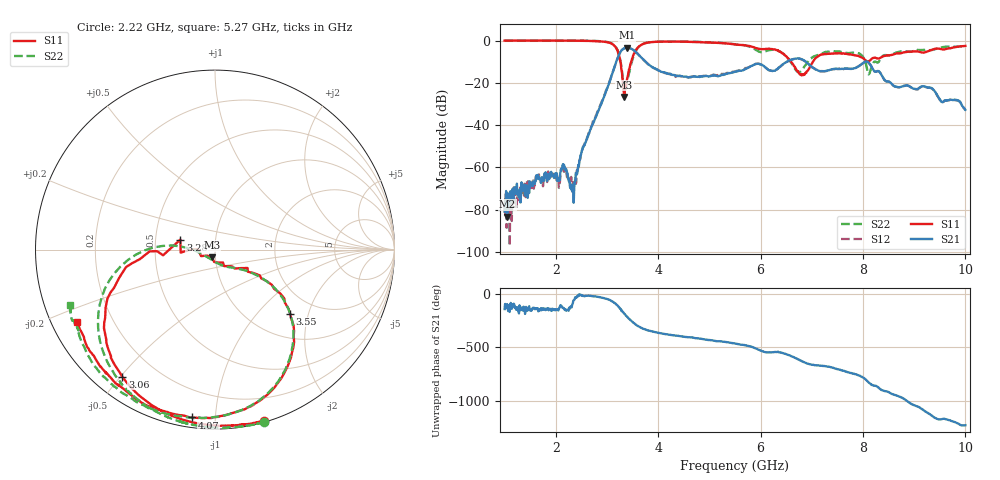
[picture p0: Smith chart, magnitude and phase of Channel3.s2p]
!Agilent Technologies,N5227A,US51270477,A.10.00.00
!File generated by LCAF-GAM-UPV software
!josevmart@iteam.upv.es
!S2P File: Measurements: S11, S21, S12, S22:
# Hz S  dB  R 50
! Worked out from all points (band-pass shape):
!   901 points, 1 GHz to 10 GHz, reference 50 ohm
!   highest |S21| = -3.43 dB at 3.39 GHz (marker M1); lowest = -83.3 dB at 1.05 GHz (marker M2)
!   |S21| within 3 dB of the highest: 3.24 GHz to 3.602 GHz (362.2 MHz wide, 10.6 % of centre)
!   lowest |S11| = -26.7 dB at 3.34 GHz (marker M3), VSWR 1.10, Z = 48.1 - j4.11 ohm
!   |S11| at or under -10 dB: 3.262 GHz to 3.474 GHz (211.7 MHz wide, 6.29 % of centre); 6.589 GHz to 7.023 GHz (434.3 MHz wide, 6.38 % of centre)
!   |S22| runs from -24.6 to 0.0 dB; largest |S21 - S12| = 0.087
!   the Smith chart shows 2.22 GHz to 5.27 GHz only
!   S11 on the Smith chart (normalised r, x): 2.22 GHz: 0.01, -1.33; 3.06 GHz: 0.08, -0.51; 3.28 GHz: 0.67, +0.08; 3.55 GHz: 1.50, -1.53; 4.07 GHz: 0.05, -0.87; 5.27 GHz: 0.08, -0.24
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1e9  -0.00 -31.8  -80.96 -142.9  -77.34 -84.9  0.01 -32.2
1.05e9  -0.00 -33.5  -83.32 -96.7  -80.71 -147.8  0.01 -34.0
1.64e9  -0.02 -52.6  -64.03 -147.6  -63.81 -149.9  0.03 -53.2
2.22e9  -0.07 -74.0  -62.46 -148.3  -64.74 -138.2  -0.00 -74.3
2.34e9  -0.09 -78.3  -68.20 -68.3  -67.04 -70.3  -0.02 -79.2
2.5e9  -0.13 -84.3  -53.23 -15.2  -53.14 -17.5  -0.05 -86.0
3.06e9  -1.15 -126.1  -18.97 -59.2  -18.69 -60.4  -1.04 -129.6
3.28e9  -13.94 163.9  -4.64 -159.8  -4.81 -151.2  -12.41 174.4
3.34e9  -26.72 -112.4  -3.67 171.8  -3.67 174.1  -24.60 -130.1
3.39e9  -18.59 -51.5  -3.43 146.8  -3.41 148.2  -19.74 -61.3
3.55e9  -5.20 -40.4  -5.12 77.0  -5.04 77.9  -5.56 -39.0
4e9  -0.54 -93.3  -14.07 -4.8  -14.14 -4.3  -0.53 -94.5
4.07e9  -0.50 -97.7  -14.85 -10.2  -14.84 -10.3  -0.47 -99.1
5.27e9  -1.26 -152.4  -16.30 -87.5  -15.77 -90.2  -1.27 -159.2
5.5e9  -1.85 -163.3  -14.85 -104.7  -14.64 -106.4  -1.75 -169.9
6.39e9  -5.44 142.7  -12.22 171.6  -12.18 172.2  -5.40 143.0
6.74e9  -15.03 139.4  -8.53 106.7  -8.53 107.2  -15.09 154.3
7e9  -11.03 -167.6  -12.50 57.0  -12.51 58.4  -8.03 177.0
7.63e9  -6.14 108.9  -13.43 -0.1  -13.39 -0.4  -5.48 100.8
8.12e9  -9.71 66.4  -10.74 -111.4  -10.80 -112.1  -15.87 57.7
8.5e9  -7.07 34.4  -19.43 161.2  -19.43 159.6  -7.10 39.4
1e10  -2.57 -64.9  -32.81 -147.6  -32.88 -147.7  -2.42 -76.0
